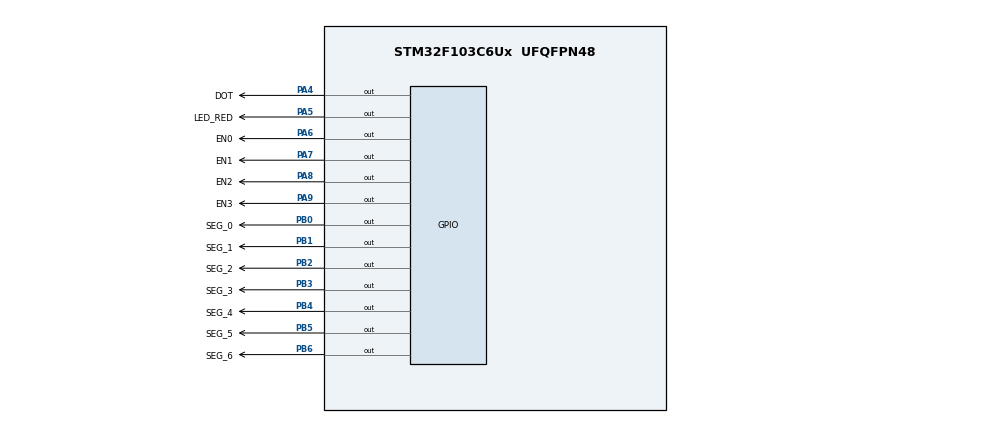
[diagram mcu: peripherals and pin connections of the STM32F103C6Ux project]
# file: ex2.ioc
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Mcu.Family=STM32F1
Mcu.Name=STM32F103C6Ux
Mcu.Package=UFQFPN48
NVIC.PriorityGroup=NVIC_PRIORITYGROUP_4
NVIC.TIM2_IRQn=true\:0\:0\:false\:false\:true\:true\:true
PA4.GPIO_Label=DOT
PA4.Signal=GPIO_Output
PA5.GPIO_Label=LED_RED
PA5.Signal=GPIO_Output
PA6.GPIO_Label=EN0
PA6.Signal=GPIO_Output
PA7.GPIO_Label=EN1
PA7.Signal=GPIO_Output
PA8.GPIO_Label=EN2
PA8.Signal=GPIO_Output
PA9.GPIO_Label=EN3
PA9.Signal=GPIO_Output
PB0.GPIO_Label=SEG_0
PB0.Signal=GPIO_Output
PB1.GPIO_Label=SEG_1
PB1.Signal=GPIO_Output
PB2.GPIO_Label=SEG_2
PB2.Signal=GPIO_Output
PB3.GPIO_Label=SEG_3
PB3.Signal=GPIO_Output
PB4.GPIO_Label=SEG_4
PB4.Signal=GPIO_Output
PB5.GPIO_Label=SEG_5
PB5.Signal=GPIO_Output
PB6.GPIO_Label=SEG_6
PB6.Signal=GPIO_Output
ProjectManager.HeapSize=0x200
ProjectManager.StackSize=0x400
ProjectManager.TargetToolchain=STM32CubeIDE
RCC.APB1Freq_Value=8000000
RCC.APB2Freq_Value=8000000
TIM2.Period=9
TIM2.Prescaler=7999
VP_SYS_VS_ND.Mode=No_Debug
VP_TIM2_VS_ClockSourceINT.Mode=Internal
board=custom

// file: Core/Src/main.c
/* USER CODE BEGIN Header */
/**
  ******************************************************************************
  * @file           : main.c
  * @brief          : Main program body
  ******************************************************************************
  * @attention
  *
  * <h2><center>&copy; Copyright (c) 2022 STMicroelectronics.
  * All rights reserved.</center></h2>
  *
  * This software component is licensed by ST under BSD 3-Clause license,
  * the "License"; You may not use this file except in compliance with the
  * License. You may obtain a copy of the License at:
  *                        opensource.org/licenses/BSD-3-Clause
  *
  ******************************************************************************
  */
/* USER CODE END Header */
#include "main.h"

TIM_HandleTypeDef htim2;

void SystemClock_Config(void);
static void MX_GPIO_Init(void);
static void MX_TIM2_Init(void);

/* USER CODE BEGIN 0 */
void display7SEG(int num) {
	//num is the time displayed on the 7-segment led
	if (num == 0) {
		HAL_GPIO_WritePin(SEG_0_GPIO_Port, SEG_0_Pin, RESET);
		HAL_GPIO_WritePin(SEG_1_GPIO_Port, SEG_1_Pin, RESET);
		HAL_GPIO_WritePin(SEG_2_GPIO_Port, SEG_2_Pin, RESET);
		HAL_GPIO_WritePin(SEG_3_GPIO_Port, SEG_3_Pin, RESET);
		HAL_GPIO_WritePin(SEG_4_GPIO_Port, SEG_4_Pin, RESET);
		HAL_GPIO_WritePin(SEG_5_GPIO_Port, SEG_5_Pin, RESET);
		HAL_GPIO_WritePin(SEG_6_GPIO_Port, SEG_6_Pin, SET);
	}
	if (num == 1) {
		HAL_GPIO_WritePin(SEG_0_GPIO_Port, SEG_0_Pin, SET);
		HAL_GPIO_WritePin(SEG_1_GPIO_Port, SEG_1_Pin, RESET);
		HAL_GPIO_WritePin(SEG_2_GPIO_Port, SEG_2_Pin, RESET);
		HAL_GPIO_WritePin(SEG_3_GPIO_Port, SEG_3_Pin, SET);
		HAL_GPIO_WritePin(SEG_4_GPIO_Port, SEG_4_Pin, SET);
		HAL_GPIO_WritePin(SEG_5_GPIO_Port, SEG_5_Pin, SET);
		HAL_GPIO_WritePin(SEG_6_GPIO_Port, SEG_6_Pin, SET);
	}
	if (num == 2) {
		HAL_GPIO_WritePin(SEG_0_GPIO_Port, SEG_0_Pin, RESET);
		HAL_GPIO_WritePin(SEG_1_GPIO_Port, SEG_1_Pin, RESET);
		HAL_GPIO_WritePin(SEG_2_GPIO_Port, SEG_2_Pin, SET);
		HAL_GPIO_WritePin(SEG_3_GPIO_Port, SEG_3_Pin, RESET);
		HAL_GPIO_WritePin(SEG_4_GPIO_Port, SEG_4_Pin, RESET);
		HAL_GPIO_WritePin(SEG_5_GPIO_Port, SEG_5_Pin, SET);
		HAL_GPIO_WritePin(SEG_6_GPIO_Port, SEG_6_Pin, RESET);
	}
	if (num == 3) {
		HAL_GPIO_WritePin(SEG_0_GPIO_Port, SEG_0_Pin, RESET);
		HAL_GPIO_WritePin(SEG_1_GPIO_Port, SEG_1_Pin, RESET);
		HAL_GPIO_WritePin(SEG_2_GPIO_Port, SEG_2_Pin, RESET);
		HAL_GPIO_WritePin(SEG_3_GPIO_Port, SEG_3_Pin, RESET);
		HAL_GPIO_WritePin(SEG_4_GPIO_Port, SEG_4_Pin, SET);
		HAL_GPIO_WritePin(SEG_5_GPIO_Port, SEG_5_Pin, SET);
		HAL_GPIO_WritePin(SEG_6_GPIO_Port, SEG_6_Pin, RESET);
	}
	if (num == 4) {
		HAL_GPIO_WritePin(SEG_0_GPIO_Port, SEG_0_Pin, SET);
		HAL_GPIO_WritePin(SEG_1_GPIO_Port, SEG_1_Pin, RESET);
		HAL_GPIO_WritePin(SEG_2_GPIO_Port, SEG_2_Pin, RESET);
		HAL_GPIO_WritePin(SEG_3_GPIO_Port, SEG_3_Pin, SET);
		HAL_GPIO_WritePin(SEG_4_GPIO_Port, SEG_4_Pin, SET);
		HAL_GPIO_WritePin(SEG_5_GPIO_Port, SEG_5_Pin, RESET);
		HAL_GPIO_WritePin(SEG_6_GPIO_Port, SEG_6_Pin, RESET);
	}
	if (num == 5) {
		HAL_GPIO_WritePin(SEG_0_GPIO_Port, SEG_0_Pin, RESET);
		HAL_GPIO_WritePin(SEG_1_GPIO_Port, SEG_1_Pin, SET);
		HAL_GPIO_WritePin(SEG_2_GPIO_Port, SEG_2_Pin, RESET);
		HAL_GPIO_WritePin(SEG_3_GPIO_Port, SEG_3_Pin, RESET);
		HAL_GPIO_WritePin(SEG_4_GPIO_Port, SEG_4_Pin, SET);
		HAL_GPIO_WritePin(SEG_5_GPIO_Port, SEG_5_Pin, RESET);
		HAL_GPIO_WritePin(SEG_6_GPIO_Port, SEG_6_Pin, RESET);
	}
	if (num == 6) {
		HAL_GPIO_WritePin(SEG_0_GPIO_Port, SEG_0_Pin, RESET);
		HAL_GPIO_WritePin(SEG_1_GPIO_Port, SEG_1_Pin, SET);
		HAL_GPIO_WritePin(SEG_2_GPIO_Port, SEG_2_Pin, RESET);
		HAL_GPIO_WritePin(SEG_3_GPIO_Port, SEG_3_Pin, RESET);
		HAL_GPIO_WritePin(SEG_4_GPIO_Port, SEG_4_Pin, RESET);
		HAL_GPIO_WritePin(SEG_5_GPIO_Port, SEG_5_Pin, RESET);
		HAL_GPIO_WritePin(SEG_6_GPIO_Port, SEG_6_Pin, RESET);
	}
	if (num == 7) {
		HAL_GPIO_WritePin(SEG_0_GPIO_Port, SEG_0_Pin, RESET);
		HAL_GPIO_WritePin(SEG_1_GPIO_Port, SEG_1_Pin, RESET);
		HAL_GPIO_WritePin(SEG_2_GPIO_Port, SEG_2_Pin, RESET);
		HAL_GPIO_WritePin(SEG_3_GPIO_Port, SEG_3_Pin, SET);
		HAL_GPIO_WritePin(SEG_4_GPIO_Port, SEG_4_Pin, SET);
		HAL_GPIO_WritePin(SEG_5_GPIO_Port, SEG_5_Pin, SET);
		HAL_GPIO_WritePin(SEG_6_GPIO_Port, SEG_6_Pin, SET);
	}
	if (num == 8) {
		HAL_GPIO_WritePin(SEG_0_GPIO_Port, SEG_0_Pin, RESET);
		HAL_GPIO_WritePin(SEG_1_GPIO_Port, SEG_1_Pin, RESET);
		HAL_GPIO_WritePin(SEG_2_GPIO_Port, SEG_2_Pin, RESET);
		HAL_GPIO_WritePin(SEG_3_GPIO_Port, SEG_3_Pin, RESET);
		HAL_GPIO_WritePin(SEG_4_GPIO_Port, SEG_4_Pin, RESET);
		HAL_GPIO_WritePin(SEG_5_GPIO_Port, SEG_5_Pin, RESET);
		HAL_GPIO_WritePin(SEG_6_GPIO_Port, SEG_6_Pin, RESET);
	}
	if (num == 9) {
		HAL_GPIO_WritePin(SEG_0_GPIO_Port, SEG_0_Pin, RESET);
		HAL_GPIO_WritePin(SEG_1_GPIO_Port, SEG_1_Pin, RESET);
		HAL_GPIO_WritePin(SEG_2_GPIO_Port, SEG_2_Pin, RESET);
		HAL_GPIO_WritePin(SEG_3_GPIO_Port, SEG_3_Pin, RESET);
		HAL_GPIO_WritePin(SEG_4_GPIO_Port, SEG_4_Pin, SET);
		HAL_GPIO_WritePin(SEG_5_GPIO_Port, SEG_5_Pin, RESET);
		HAL_GPIO_WritePin(SEG_6_GPIO_Port, SEG_6_Pin, RESET);
	}
}
/* USER CODE END 0 */

int main(void)
{

  /* MCU Configuration--------------------------------------------------------*/

  /* Reset of all peripherals, Initializes the Flash interface and the Systick. */
  HAL_Init();

  /* Configure the system clock */
  SystemClock_Config();

  /* Initialize all configured peripherals */
  MX_GPIO_Init();
  MX_TIM2_Init();
  /* USER CODE BEGIN 2 */
  HAL_TIM_Base_Start_IT(&htim2);
  /* USER CODE END 2 */

  /* Infinite loop */
  while (1)
  {

  }
}

void SystemClock_Config(void)
{
  RCC_OscInitTypeDef RCC_OscInitStruct = {0};
  RCC_ClkInitTypeDef RCC_ClkInitStruct = {0};

  /** Initializes the RCC Oscillators according to the specified parameters
  * in the RCC_OscInitTypeDef structure.
  */
  RCC_OscInitStruct.OscillatorType = RCC_OSCILLATORTYPE_HSI;
  RCC_OscInitStruct.HSIState = RCC_HSI_ON;
  RCC_OscInitStruct.HSICalibrationValue = RCC_HSICALIBRATION_DEFAULT;
  RCC_OscInitStruct.PLL.PLLState = RCC_PLL_NONE;
  if (HAL_RCC_OscConfig(&RCC_OscInitStruct) != HAL_OK)
  {
    Error_Handler();
  }
  /** Initializes the CPU, AHB and APB buses clocks
  */
  RCC_ClkInitStruct.ClockType = RCC_CLOCKTYPE_HCLK|RCC_CLOCKTYPE_SYSCLK
                              |RCC_CLOCKTYPE_PCLK1|RCC_CLOCKTYPE_PCLK2;
  RCC_ClkInitStruct.SYSCLKSource = RCC_SYSCLKSOURCE_HSI;
  RCC_ClkInitStruct.AHBCLKDivider = RCC_SYSCLK_DIV1;
  RCC_ClkInitStruct.APB1CLKDivider = RCC_HCLK_DIV1;
  RCC_ClkInitStruct.APB2CLKDivider = RCC_HCLK_DIV1;

  if (HAL_RCC_ClockConfig(&RCC_ClkInitStruct, FLASH_LATENCY_0) != HAL_OK)
  {
    Error_Handler();
  }
}

static void MX_TIM2_Init(void)
{

  TIM_ClockConfigTypeDef sClockSourceConfig = {0};
  TIM_MasterConfigTypeDef sMasterConfig = {0};

  htim2.Instance = TIM2;
  htim2.Init.Prescaler = 7999;
  htim2.Init.CounterMode = TIM_COUNTERMODE_UP;
  htim2.Init.Period = 9;
  htim2.Init.ClockDivision = TIM_CLOCKDIVISION_DIV1;
  htim2.Init.AutoReloadPreload = TIM_AUTORELOAD_PRELOAD_DISABLE;
  if (HAL_TIM_Base_Init(&htim2) != HAL_OK)
  {
    Error_Handler();
  }
  sClockSourceConfig.ClockSource = TIM_CLOCKSOURCE_INTERNAL;
  if (HAL_TIM_ConfigClockSource(&htim2, &sClockSourceConfig) != HAL_OK)
  {
    Error_Handler();
  }
  sMasterConfig.MasterOutputTrigger = TIM_TRGO_RESET;
  sMasterConfig.MasterSlaveMode = TIM_MASTERSLAVEMODE_DISABLE;
  if (HAL_TIMEx_MasterConfigSynchronization(&htim2, &sMasterConfig) != HAL_OK)
  {
    Error_Handler();
  }

}

static void MX_GPIO_Init(void)
{
  GPIO_InitTypeDef GPIO_InitStruct = {0};

  /* GPIO Ports Clock Enable */
  __HAL_RCC_GPIOA_CLK_ENABLE();
  __HAL_RCC_GPIOB_CLK_ENABLE();

  /*Configure GPIO pin Output Level */
  HAL_GPIO_WritePin(GPIOA, DOT_Pin|LED_RED_Pin|EN0_Pin|EN1_Pin
                          |EN2_Pin|EN3_Pin, GPIO_PIN_RESET);

  /*Configure GPIO pin Output Level */
  HAL_GPIO_WritePin(GPIOB, SEG_0_Pin|SEG_1_Pin|SEG_2_Pin|SEG_3_Pin
                          |SEG_4_Pin|SEG_5_Pin|SEG_6_Pin, GPIO_PIN_RESET);

  /*Configure GPIO pins : DOT_Pin LED_RED_Pin EN0_Pin EN1_Pin
                           EN2_Pin EN3_Pin */
  GPIO_InitStruct.Pin = DOT_Pin|LED_RED_Pin|EN0_Pin|EN1_Pin
                          |EN2_Pin|EN3_Pin;
  GPIO_InitStruct.Mode = GPIO_MODE_OUTPUT_PP;
  GPIO_InitStruct.Pull = GPIO_NOPULL;
  GPIO_InitStruct.Speed = GPIO_SPEED_FREQ_LOW;
  HAL_GPIO_Init(GPIOA, &GPIO_InitStruct);

  /*Configure GPIO pins : SEG_0_Pin SEG_1_Pin SEG_2_Pin SEG_3_Pin
                           SEG_4_Pin SEG_5_Pin SEG_6_Pin */
  GPIO_InitStruct.Pin = SEG_0_Pin|SEG_1_Pin|SEG_2_Pin|SEG_3_Pin
                          |SEG_4_Pin|SEG_5_Pin|SEG_6_Pin;
  GPIO_InitStruct.Mode = GPIO_MODE_OUTPUT_PP;
  GPIO_InitStruct.Pull = GPIO_NOPULL;
  GPIO_InitStruct.Speed = GPIO_SPEED_FREQ_LOW;
  HAL_GPIO_Init(GPIOB, &GPIO_InitStruct);

}

/* USER CODE BEGIN 4 */
int counter = 200;

void HAL_TIM_PeriodElapsedCallback(TIM_HandleTypeDef *htim){
	counter--;
	if (counter > 150){
		HAL_GPIO_WritePin(EN0_GPIO_Port, EN0_Pin, RESET);
		HAL_GPIO_WritePin(EN1_GPIO_Port, EN1_Pin, SET);
		HAL_GPIO_WritePin(EN2_GPIO_Port, EN2_Pin, SET);
		HAL_GPIO_WritePin(EN3_GPIO_Port, EN3_Pin, SET);
		HAL_GPIO_WritePin(DOT_GPIO_Port, DOT_Pin, RESET);
		display7SEG(1);
	}
	else if (counter > 100 && counter <= 150){
		HAL_GPIO_WritePin(EN0_GPIO_Port, EN0_Pin, SET);
		HAL_GPIO_WritePin(EN1_GPIO_Port, EN1_Pin, RESET);
		HAL_GPIO_WritePin(EN2_GPIO_Port, EN2_Pin, SET);
		HAL_GPIO_WritePin(EN3_GPIO_Port, EN3_Pin, SET);
		display7SEG(2);

	}
	else if (counter > 50 && counter <= 100){
			HAL_GPIO_WritePin(EN0_GPIO_Port, EN0_Pin, SET);
			HAL_GPIO_WritePin(EN1_GPIO_Port, EN1_Pin, SET);
			HAL_GPIO_WritePin(EN2_GPIO_Port, EN2_Pin, RESET);
			HAL_GPIO_WritePin(EN3_GPIO_Port, EN3_Pin, SET);
			//HAL_GPIO_TogglePin(LED_RED_GPIO_Port, LED_RED_Pin);
			HAL_GPIO_WritePin(DOT_GPIO_Port, DOT_Pin, SET);
			display7SEG(3);
		}
	else if (counter > 0 && counter <= 50)
	{
			HAL_GPIO_WritePin(EN0_GPIO_Port, EN0_Pin, SET);
			HAL_GPIO_WritePin(EN1_GPIO_Port, EN1_Pin, SET);
			HAL_GPIO_WritePin(EN2_GPIO_Port, EN2_Pin, SET);
			HAL_GPIO_WritePin(EN3_GPIO_Port, EN3_Pin, RESET);
			display7SEG(0);
	}
	else if (counter == 0)
	{
		counter = 200;
	}
}
/* USER CODE END 4 */

void Error_Handler(void)
{
  __disable_irq();
  while (1)
  {
  }
}

/************************ (C) COPYRIGHT STMicroelectronics *****END OF FILE****/
